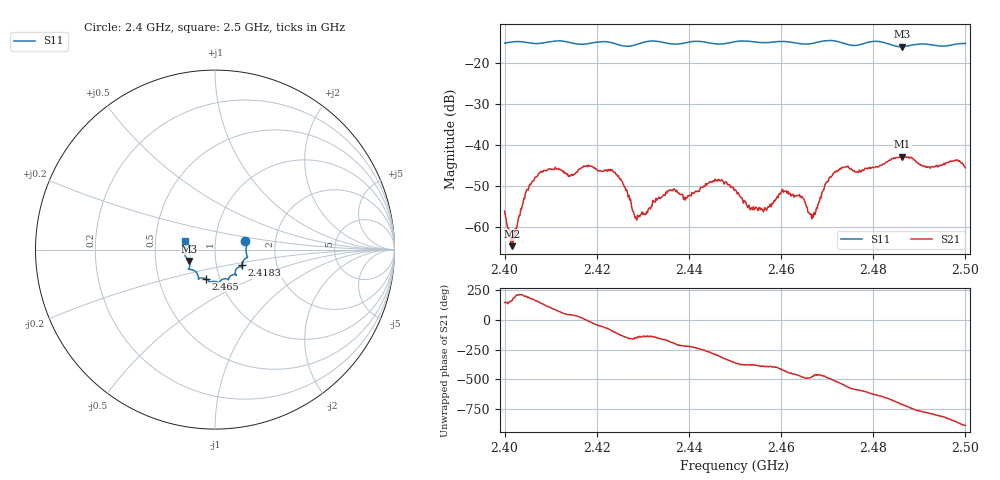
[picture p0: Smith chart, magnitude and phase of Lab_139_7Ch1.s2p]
# Hz S RI R 50
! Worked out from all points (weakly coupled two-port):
!   601 points, 2.4 GHz to 2.5 GHz, reference 50 ohm
!   highest |S21| = -42.90 dB at 2.4863 GHz (marker M1); lowest = -64.8 dB at 2.4017 GHz (marker M2)
!   lowest |S11| = -16.0 dB at 2.4862 GHz (marker M3), VSWR 1.37, Z = 37.1 - j4.84 ohm
!   |S11| at or under -10 dB: start of sweep to end of sweep
!   S12 and S22 are empty: the file has one direction only
!   S11 on the Smith chart (normalised r, x): 2.4 GHz: 1.40, +0.13; 2.4183 GHz: 1.33, -0.24; 2.465 GHz: 0.86, -0.29; 2.5 GHz: 0.71, +0.07
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2.4e9  0.1689 0.0458  -0.0012 0.000976  0 0  0 0
2.401667e9  0.1771 0.0378  -0.000544 0.000189  0 0  0 0
2.4045e9  0.1775 0.023  -0.00246 -0.000594  0 0  0 0
2.407167e9  0.1728 -0.00544  -0.00366 0.0021  0 0  0 0
2.416667e9  0.1548 -0.0682  0.00505 0.00134  0 0  0 0
2.418333e9  0.1499 -0.0867  0.00533 -0.00156  0 0  0 0
2.424333e9  0.1398 -0.0961  -0.00181 -0.00392  0 0  0 0
2.428667e9  0.1125 -0.1256  -0.00108 -0.000531  0 0  0 0
2.433333e9  0.1168 -0.1412  -0.00198 -0.000978  0 0  0 0
2.439333e9  0.0768 -0.1592  -0.00174 0.00144  0 0  0 0
2.446167e9  0.0515 -0.1629  0.00154 0.00325  0 0  0 0
2.45e9  0.0251 -0.1807  0.00279 -2.52e-05  0 0  0 0
2.453667e9  0.0158 -0.1819  0.00163 -0.000479  0 0  0 0
2.4565e9  -0.00552 -0.1772  0.00145 -0.000901  0 0  0 0
2.460667e9  -0.0297 -0.1808  0.00114 -0.00246  0 0  0 0
2.465e9  -0.0528 -0.1621  -0.00119 -0.00178  0 0  0 0
2.466667e9  -0.0713 -0.1576  -0.000588 -0.0011  0 0  0 0
2.471833e9  -0.092 -0.1611  -0.00417 -0.00198  0 0  0 0
2.483333e9  -0.142 -0.0959  0.00322 0.00556  0 0  0 0
2.486167e9  -0.1445 -0.0635  0.00693 0.00173  0 0  0 0
2.486333e9  -0.1454 -0.0618  0.00701 0.00146  0 0  0 0
2.5e9  -0.1667 0.0471  -0.00499 -0.00151  0 0  0 0
